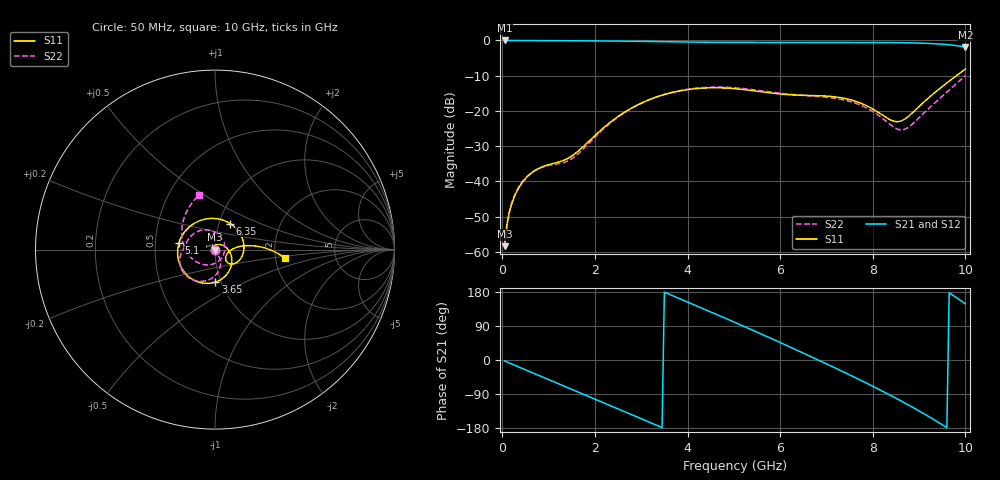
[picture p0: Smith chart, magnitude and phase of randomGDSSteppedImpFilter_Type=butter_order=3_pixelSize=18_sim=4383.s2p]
! freq	dB(S11)	phase(S11)	dB(S12)	phase(S12)
!  dB(S21)	phase(S21)	dB(S22)	phase(S22)
!S-par simulation data
#  GHz  S  DB  R 50
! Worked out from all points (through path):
!   200 points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, 50 MHz to 10 GHz, reference 50 ohm
!   highest |S21| = -0.01 dB at 50 MHz (marker M1); lowest = -1.9 dB at 10 GHz (marker M2)
!   group delay of S21, straight-line fit = 154 ps
!   lowest |S11| = -58.4 dB at 50 MHz (marker M3), VSWR 1.00, Z = 50 - j0.116 ohm
!   |S11| at or under -10 dB: start of sweep to 9.807 GHz
!   |S22| runs from -58.3 to -10.0 dB; largest |S21 - S12| = 0
!   S11 on the Smith chart (normalised r, x): 50 MHz: 1.00, -0.00; 3.65 GHz: 0.94, -0.35; 5.1 GHz: 0.66, +0.05; 6.35 GHz: 1.13, +0.34; 10 GHz: 2.25, -0.25
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0.05  -58.40 -75.3  -0.01 -2.6  -0.01 -2.6  -58.27 -72.3
0.1  -52.30 -86.1  -0.01 -5.2  -0.01 -5.2  -52.19 -79.8
0.2  -46.52 -99.8  -0.02 -10.3  -0.02 -10.3  -46.30 -88.2
0.45  -40.01 -125.2  -0.03 -23.1  -0.03 -23.1  -39.80 -98.0
1.15  -34.76 157.5  -0.07 -59.0  -0.07 -59.0  -35.15 -99.5
1.75  -30.12 66.9  -0.11 -89.9  -0.11 -89.9  -30.81 -66.3
2.5  -21.59 -9.0  -0.18 -128.8  -0.18 -128.8  -21.76 -67.4
3.4  -15.75 -73.0  -0.34 -175.8  -0.34 -175.8  -15.74 -97.6
3.65  -14.83 -89.5  -0.39 171.2  -0.39 171.2  -14.79 -107.1
4.4  -13.49 -139.3  -0.51 132.1  -0.51 132.1  -13.33 -135.1
5.05  -13.73 173.9  -0.55 97.8  -0.55 97.8  -13.48 -157.0
5.1  -13.79 170.0  -0.55 95.1  -0.55 95.1  -13.53 -158.5
5.7  -14.76 119.8  -0.54 62.7  -0.54 62.7  -14.47 -174.1
6.35  -15.51 59.8  -0.54 26.6  -0.54 26.6  -15.45 172.7
6.7  -15.64 29.0  -0.56 6.9  -0.56 6.9  -15.79 164.2
7.45  -16.62 -24.2  -0.58 -36.3  -0.58 -36.3  -17.12 133.1
7.95  -19.09 -44.7  -0.59 -66.2  -0.59 -66.2  -19.78 96.6
8.35  -22.34 -39.2  -0.61 -91.2  -0.61 -91.2  -23.61 46.1
8.7  -22.25 -9.4  -0.66 -114.0  -0.66 -114.0  -25.17 -31.5
9.3  -15.23 7.2  -0.91 -155.8  -0.91 -155.8  -18.19 -145.9
9.65  -11.56 2.7  -1.23 177.4  -1.23 177.4  -14.08 159.3
10  -8.14 -6.9  -1.90 148.2  -1.90 148.2  -9.99 106.5
